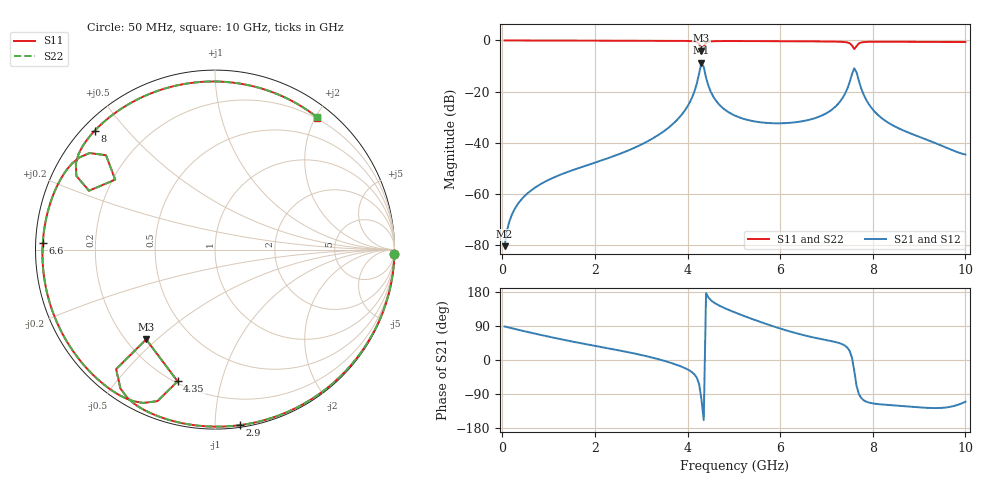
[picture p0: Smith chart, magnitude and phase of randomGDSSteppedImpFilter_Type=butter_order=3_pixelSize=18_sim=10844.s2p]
! freq	dB(S11)	phase(S11)	dB(S12)	phase(S12)
!  dB(S21)	phase(S21)	dB(S22)	phase(S22)
!S-par simulation data
#  GHz  S  DB  R 50
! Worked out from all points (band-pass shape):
!   200 points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, 50 MHz to 10 GHz, reference 50 ohm
!   highest |S21| = -8.72 dB at 4.3 GHz (marker M1); lowest = -80.5 dB at 50 MHz (marker M2)
!   |S21| within 3 dB of the highest: 4.264 GHz to 4.366 GHz (101.3 MHz wide, 2.35 % of centre); 7.583 GHz to 7.626 GHz (43.62 MHz wide, 0.574 % of centre)
!   lowest |S11| = -4.0 dB at 4.3 GHz (marker M3), VSWR 4.41, Z = 13.9 - j23.1 ohm
!   |S11| at or under -10 dB: nowhere
!   |S22| runs from -4.0 to 0.0 dB; largest |S21 - S12| = 0
!   S11 on the Smith chart (normalised r, x): 50 MHz: 0, -78; 2.9 GHz: 0.01, -1.15; 4.35 GHz: 0.21, -0.73; 6.6 GHz: 0.02, +0.02; 8 GHz: 0.03, +0.41; 10 GHz: 0.18, +2.03
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0.05  -0.00 -1.5  -80.52 88.5  -80.52 88.5  -0.00 -1.5
0.2  -0.00 -5.8  -68.49 84.0  -68.49 84.0  -0.00 -5.8
0.5  -0.01 -14.6  -60.58 75.3  -60.58 75.3  -0.01 -14.6
1.75  -0.06 -50.2  -49.33 43.0  -49.33 43.0  -0.06 -50.2
2.9  -0.11 -81.9  -41.62 16.0  -41.62 16.0  -0.11 -81.9
3.4  -0.13 -95.7  -36.65 1.1  -36.65 1.1  -0.13 -95.7
4  -0.20 -113.7  -25.80 -24.8  -25.80 -24.8  -0.20 -113.8
4.25  -1.27 -129.6  -12.92 -63.2  -12.92 -63.2  -1.27 -129.6
4.3  -4.01 -127.5  -8.72 -103.5  -8.72 -103.5  -4.00 -127.5
4.35  -2.35 -105.8  -10.42 -158.3  -10.42 -158.3  -2.35 -105.9
4.6  -0.27 -122.6  -23.21 149.2  -23.21 149.2  -0.27 -122.6
5.05  -0.23 -136.8  -29.62 124.2  -29.62 124.2  -0.23 -136.8
6.6  -0.35 177.9  -31.17 62.8  -31.17 62.8  -0.35 177.9
6.7  -0.37 174.7  -30.70 60.0  -30.70 60.0  -0.36 174.7
7.3  -0.52 153.5  -23.77 43.7  -23.77 43.7  -0.52 153.5
7.5  -1.09 142.4  -16.37 23.9  -16.37 23.9  -1.09 142.4
7.6  -3.36 145.0  -10.89 -28.3  -10.89 -28.3  -3.37 145.0
7.7  -1.16 152.0  -15.83 -89.8  -15.83 -89.8  -1.16 152.0
8  -0.52 135.3  -27.01 -114.5  -27.01 -114.5  -0.52 135.3
8.35  -0.52 121.0  -32.37 -118.8  -32.37 -118.8  -0.51 121.1
9.2  -0.57 86.3  -39.08 -126.4  -39.08 -126.4  -0.57 86.4
10  -0.62 52.2  -44.63 -110.1  -44.63 -110.1  -0.62 52.3
